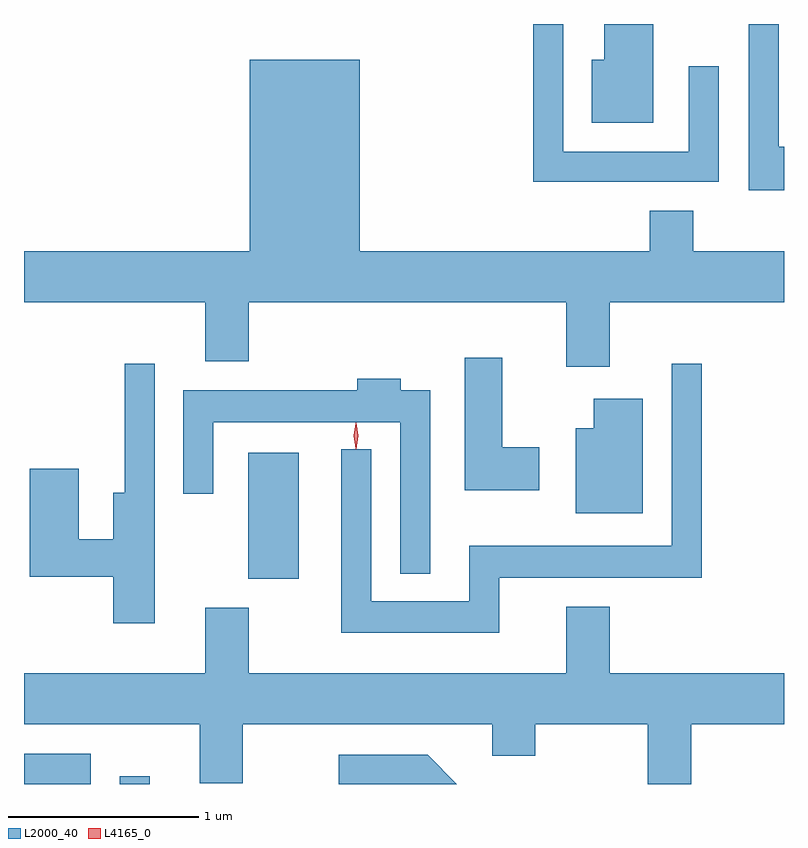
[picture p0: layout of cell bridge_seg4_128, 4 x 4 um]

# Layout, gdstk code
import gdstk
lib = gdstk.Library(unit=1e-6, precision=1e-09)
def R(c, l, rs):  # rectangles x0, y0, x1, y1
    for r in rs: c.add(gdstk.rectangle(r[:2], r[2:], *l))
def P(c, l, *ps):  # polygons
    for p in ps: c.add(gdstk.Polygon(p, *l))
L2000_40 = (2000, 40)
L4165_0 = (4165, 0)

bridge_seg4_128 = lib.new_cell('bridge_seg4_128')
R(bridge_seg4_128, L2000_40, [(914.867,1314.401,915.219,1314.559), (915.371,1314.401,915.529,1314.443), (916.046,1315.481,916.314,1316.144)])
P(bridge_seg4_128, L2000_40, [(918.524,1318.178),(918.366,1318.178),(918.366,1317.729),(917.704,1317.729),(917.704,1318.401),(917.546,1318.401),(917.546,1317.571),(918.524,1317.571)],
  [(918.179,1318.401),(917.921,1318.401),(917.921,1318.214),(917.856,1318.214),(917.856,1317.881),(918.179,1317.881)],
  [(918.867,1317.754),(918.839,1317.754),(918.839,1318.401),(918.681,1318.401),(918.681,1317.526),(918.867,1317.526)],
  [(917.949,1316.936),(918.867,1316.936),(918.867,1317.204),(918.389,1317.204),(918.389,1317.419),(918.161,1317.419),(918.161,1317.204),(916.634,1317.204),(916.634,1318.214),(916.056,1318.214),(916.056,1317.204),(914.867,1317.204),(914.867,1316.936),(915.821,1316.936),(915.821,1316.626),(916.049,1316.626),(916.049,1316.936),(917.721,1316.936),(917.721,1316.596),(917.949,1316.596)],
  [(917.579,1316.174),(917.384,1316.174),(917.384,1316.644),(917.186,1316.644),(917.186,1315.946),(917.579,1315.946)],
  [(915.554,1316.613),(915.396,1316.613),(915.396,1315.934),(915.336,1315.934),(915.336,1315.689),(915.154,1315.689),(915.154,1316.059),(914.896,1316.059),(914.896,1315.491),(915.336,1315.491),(915.336,1315.246),(915.554,1315.246)],
  [(917.369,1315.486),(918.434,1315.486),(918.434,1316.613),(918.276,1316.613),(918.276,1315.654),(917.211,1315.654),(917.211,1315.364),(916.694,1315.364),(916.694,1316.163),(916.536,1316.163),(916.536,1315.196),(917.369,1315.196)],
  [(917.004,1316.474),(916.849,1316.474),(916.849,1316.534),(916.621,1316.534),(916.621,1316.474),(915.706,1316.474),(915.706,1315.928),(915.864,1315.928),(915.864,1316.306),(916.846,1316.306),(916.846,1315.508),(917.004,1315.508)],
  [(918.124,1316.429),(917.866,1316.429),(917.866,1316.274),(917.771,1316.274),(917.771,1315.826),(918.124,1315.826)],
  [(918.379,1314.716),(918.867,1314.716),(918.867,1314.984),(917.949,1314.984),(917.949,1315.334),(917.721,1315.334),(917.721,1314.984),(916.049,1314.984),(916.049,1315.329),(915.821,1315.329),(915.821,1314.984),(914.867,1314.984),(914.867,1314.716),(915.791,1314.716),(915.791,1314.406),(916.019,1314.406),(916.019,1314.716),(917.331,1314.716),(917.331,1314.551),(917.559,1314.551),(917.559,1314.716),(918.151,1314.716),(918.151,1314.401),(918.379,1314.401)],
  [(916.992,1314.554),(916.523,1314.554),(916.523,1314.401),(917.145,1314.401)])
P(bridge_seg4_128, L4165_0, [(916.614,1316.164),(916.605,1316.234),(916.614,1316.302),(916.615,1316.303),(916.615,1316.302),(916.625,1316.234),(916.615,1316.164),(916.615,1316.164)],
  [(916.612,1316.167),(916.603,1316.234),(916.612,1316.3),(916.613,1316.3),(916.613,1316.3),(916.623,1316.234),(916.613,1316.167),(916.613,1316.167)])

lib.write_gds('bridge_seg4_128.gds')
